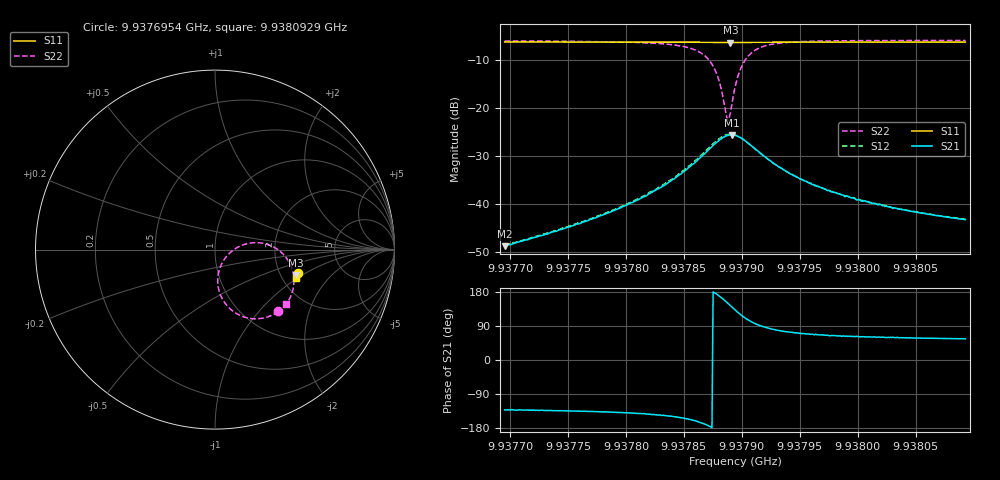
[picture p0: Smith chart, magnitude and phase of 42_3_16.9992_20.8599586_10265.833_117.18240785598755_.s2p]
#  HZ  S  RI  R  50.00
! Rohde & Schwarz Vector Network Analyzer
! Rohde-Schwarz,ZNB20-2Port,1311601062101988,3.16
! Created: UTC 3/20/2024, 10:53:57 PM
! freq[Hz]  re:S11  im:S11  re:S21  im:S21  re:S12  im:S12  re:S22  im:S22
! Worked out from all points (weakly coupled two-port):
!   401 points, 9.9376954 GHz to 9.9380929 GHz, reference 50 ohm
!   highest |S21| = -25.70 dB at 9.9378911 GHz (marker M1); lowest = -48.9 dB at 9.9376954 GHz (marker M2)
!   lowest |S11| = -6.5 dB at 9.9378901 GHz (marker M3), VSWR 2.81, Z = 121 - j44.4 ohm
!   |S11| at or under -10 dB: nowhere
!   |S22| runs from -22.6 to -6.0 dB; largest |S21 - S12| = 0.0038
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9.93769537e9  0.4632 -0.1322  -0.00239 -0.00269  -0.00246 -0.00274  0.3534 -0.3444
9.93776196e9  0.4615 -0.1368  -0.00449 -0.00445  -0.00468 -0.00447  0.3308 -0.3588
9.93779972e9  0.4601 -0.1393  -0.00722 -0.00624  -0.00748 -0.00626  0.3042 -0.3717
9.93782854e9  0.459 -0.1417  -0.0117 -0.00826  -0.0124 -0.00831  0.2627 -0.383
9.93785437e9  0.4572 -0.1436  -0.0219 -0.00948  -0.0228 -0.00928  0.1768 -0.3796
9.93786928e9  0.4556 -0.1444  -0.0339 -0.00551  -0.0356 -0.00446  0.0799 -0.3262
9.93787524e9  0.4544 -0.1443  -0.0401 0.000215  -0.042 0.00193  0.037 -0.2674
9.93787922e9  0.4537 -0.1441  -0.0438 0.00623  -0.0454 0.0088  0.0183 -0.2091
9.93788717e9  0.453 -0.1426  -0.0449 0.0239  -0.0445 0.0276  0.0468 -0.062
9.93788816e9  0.453 -0.1423  -0.0441 0.0264  -0.0435 0.0298  0.0587 -0.0447
9.93789015e9  0.4529 -0.1418  -0.0416 0.0308  -0.0405 0.0343  0.0875 -0.014
9.93789114e9  0.4532 -0.1416  -0.0402 0.0328  -0.0388 0.0362  0.1039 -0.000708
9.93789412e9  0.4536 -0.1409  -0.0346 0.038  -0.0323 0.0406  0.1595 0.0277
9.93789711e9  0.4543 -0.1406  -0.0282 0.0411  -0.0256 0.0432  0.2168 0.0385
9.93790108e9  0.4553 -0.1405  -0.0195 0.0426  -0.017 0.0435  0.2852 0.0311
9.93790605e9  0.4561 -0.141  -0.0106 0.0408  -0.0085 0.0411  0.3493 0.000659
9.93791201e9  0.4569 -0.1418  -0.00344 0.0365  -0.00179 0.0365  0.3966 -0.0447
9.93793288e9  0.4578 -0.1443  0.00527 0.0233  0.00585 0.0229  0.4397 -0.1619
9.93796071e9  0.4574 -0.1471  0.00587 0.0146  0.00655 0.0146  0.4325 -0.2303
9.93798754e9  0.4567 -0.1494  0.00545 0.011  0.00566 0.0108  0.4214 -0.2611
9.93802729e9  0.4557 -0.1521  0.00472 0.00796  0.00478 0.00785  0.4091 -0.285
9.93809287e9  0.4539 -0.1568  0.00382 0.00565  0.00393 0.00563  0.3955 -0.305
